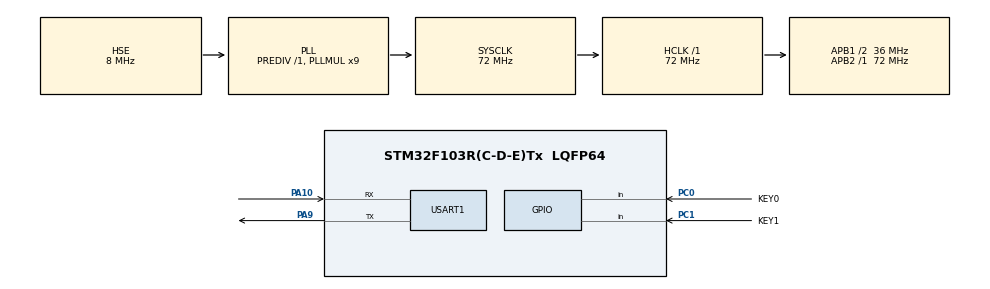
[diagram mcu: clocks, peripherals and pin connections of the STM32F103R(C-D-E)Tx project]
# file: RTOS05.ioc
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Dma.Request0=USART1_RX
Dma.USART1_RX.0.Direction=DMA_PERIPH_TO_MEMORY
Dma.USART1_RX.0.Instance=DMA1_Channel5
Dma.USART1_RX.0.MemDataAlignment=DMA_MDATAALIGN_BYTE
Dma.USART1_RX.0.MemInc=DMA_MINC_ENABLE
Dma.USART1_RX.0.Mode=DMA_NORMAL
Dma.USART1_RX.0.PeriphDataAlignment=DMA_PDATAALIGN_BYTE
Dma.USART1_RX.0.PeriphInc=DMA_PINC_DISABLE
Dma.USART1_RX.0.Priority=DMA_PRIORITY_LOW
FREERTOS.BinarySemaphores01=myBinarySem01,Dynamic,NULL
FREERTOS.CountingSemaphores01=myCountingSem01,6,Dynamic,NULL
FREERTOS.Mutexes01=myMutex01,Dynamic,NULL
FREERTOS.Tasks01=defaultTask,0,128,StartDefaultTask,Default,NULL,Dynamic,NULL,NULL;myTask01,0,128,StartTask01,Default,NULL,Dynamic,NULL,NULL
FREERTOS.Timers01=myTimer01,Callback01,osTimerPeriodic,Default,NULL,Dynamic,NULL
FREERTOS.configUSE_COUNTING_SEMAPHORES=1
FREERTOS.configUSE_TIMERS=1
Mcu.Family=STM32F1
Mcu.Name=STM32F103R(C-D-E)Tx
Mcu.Package=LQFP64
NVIC.DMA1_Channel5_IRQn=true\:5\:0\:false\:false\:true\:true\:false\:true\:true
NVIC.PriorityGroup=NVIC_PRIORITYGROUP_4
NVIC.TIM8_UP_IRQn=true\:15\:0\:false\:false\:true\:false\:false\:true\:true
NVIC.TimeBase=TIM8_UP_IRQn
NVIC.TimeBaseIP=TIM8
NVIC.USART1_IRQn=true\:5\:0\:false\:false\:true\:true\:true\:true\:true
PA10.Mode=Asynchronous
PA10.Signal=USART1_RX
PA13.Mode=Serial_Wire
PA13.Signal=SYS_JTMS-SWDIO
PA14.Mode=Serial_Wire
PA14.Signal=SYS_JTCK-SWCLK
PA9.Mode=Asynchronous
PA9.Signal=USART1_TX
PC0.GPIO_Label=KEY0
PC0.GPIO_PuPd=GPIO_PULLUP
PC0.Signal=GPIO_Input
PC1.GPIO_Label=KEY1
PC1.GPIO_PuPd=GPIO_PULLUP
PC1.Signal=GPIO_Input
PD0-OSC_IN.Mode=HSE-External-Oscillator
PD0-OSC_IN.Signal=RCC_OSC_IN
PD1-OSC_OUT.Mode=HSE-External-Oscillator
PD1-OSC_OUT.Signal=RCC_OSC_OUT
ProjectManager.HeapSize=0x200
ProjectManager.StackSize=0x400
ProjectManager.TargetToolchain=MDK-ARM V5.32
RCC.AHBFreq_Value=72000000
RCC.APB1CLKDivider=RCC_HCLK_DIV2
RCC.APB1Freq_Value=36000000
RCC.APB1TimFreq_Value=72000000
RCC.APB2Freq_Value=72000000
RCC.APB2TimFreq_Value=72000000
RCC.HCLKFreq_Value=72000000
RCC.PLLMUL=RCC_PLL_MUL9
RCC.PLLSourceVirtual=RCC_PLLSOURCE_HSE
RCC.SYSCLKFreq_VALUE=72000000
RCC.SYSCLKSource=RCC_SYSCLKSOURCE_PLLCLK
RCC.USBFreq_Value=72000000
USART1.VirtualMode=VM_ASYNC
VP_FREERTOS_VS_CMSIS_V1.Mode=CMSIS_V1
VP_SYS_VS_tim8.Mode=TIM8
board=custom

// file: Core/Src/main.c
/* USER CODE BEGIN Header */
/**
  ******************************************************************************
  * @file           : main.c
  * @brief          : Main program body
  ******************************************************************************
  * @attention
  *
  * Copyright (c) 2024 STMicroelectronics.
  * All rights reserved.
  *
  * This software is licensed under terms that can be found in the LICENSE file
  * in the root directory of this software component.
  * If no LICENSE file comes with this software, it is provided AS-IS.
  *
  ******************************************************************************
  */
/* USER CODE END Header */
#include "main.h"
#include "cmsis_os.h"
#include "dma.h"
#include "usart.h"
#include "gpio.h"

/* USER CODE BEGIN Includes */
#include "FreeRTOS.h"
/* USER CODE END Includes */

void SystemClock_Config(void);
void MX_FREERTOS_Init(void);

int main(void)
{

  /* MCU Configuration--------------------------------------------------------*/

  /* Reset of all peripherals, Initializes the Flash interface and the Systick. */
  HAL_Init();

  /* Configure the system clock */
  SystemClock_Config();

  /* Initialize all configured peripherals */
  MX_GPIO_Init();
  MX_DMA_Init();
  MX_USART1_UART_Init();
  /* USER CODE BEGIN 2 */
	HAL_UARTEx_ReceiveToIdle_DMA(&huart1,INVT_Databuff,10);
  /* USER CODE END 2 */

  /* Call init function for freertos objects (in freertos.c) */
  MX_FREERTOS_Init();

  /* Start scheduler */
  osKernelStart();

  /* We should never get here as control is now taken by the scheduler */
  /* Infinite loop */
  while (1)
  {

  }
}

void SystemClock_Config(void)
{
  RCC_OscInitTypeDef RCC_OscInitStruct = {0};
  RCC_ClkInitTypeDef RCC_ClkInitStruct = {0};

  /** Initializes the RCC Oscillators according to the specified parameters
  * in the RCC_OscInitTypeDef structure.
  */
  RCC_OscInitStruct.OscillatorType = RCC_OSCILLATORTYPE_HSE;
  RCC_OscInitStruct.HSEState = RCC_HSE_ON;
  RCC_OscInitStruct.HSEPredivValue = RCC_HSE_PREDIV_DIV1;
  RCC_OscInitStruct.HSIState = RCC_HSI_ON;
  RCC_OscInitStruct.PLL.PLLState = RCC_PLL_ON;
  RCC_OscInitStruct.PLL.PLLSource = RCC_PLLSOURCE_HSE;
  RCC_OscInitStruct.PLL.PLLMUL = RCC_PLL_MUL9;
  if (HAL_RCC_OscConfig(&RCC_OscInitStruct) != HAL_OK)
  {
    Error_Handler();
  }

  /** Initializes the CPU, AHB and APB buses clocks
  */
  RCC_ClkInitStruct.ClockType = RCC_CLOCKTYPE_HCLK|RCC_CLOCKTYPE_SYSCLK
                              |RCC_CLOCKTYPE_PCLK1|RCC_CLOCKTYPE_PCLK2;
  RCC_ClkInitStruct.SYSCLKSource = RCC_SYSCLKSOURCE_PLLCLK;
  RCC_ClkInitStruct.AHBCLKDivider = RCC_SYSCLK_DIV1;
  RCC_ClkInitStruct.APB1CLKDivider = RCC_HCLK_DIV2;
  RCC_ClkInitStruct.APB2CLKDivider = RCC_HCLK_DIV1;

  if (HAL_RCC_ClockConfig(&RCC_ClkInitStruct, FLASH_LATENCY_2) != HAL_OK)
  {
    Error_Handler();
  }
}

/* USER CODE BEGIN 4 */
void HAL_UARTEx_RxEventCallback(UART_HandleTypeDef *huart, uint16_t Size)
{
    if(huart->Instance == USART1)
    {
     osSemaphoreRelease(myBinarySem01Handle);
    }
}
/* USER CODE END 4 */

void HAL_TIM_PeriodElapsedCallback(TIM_HandleTypeDef *htim)
{
  if (htim->Instance == TIM8) {
    HAL_IncTick();
  }
}

void Error_Handler(void)
{
  __disable_irq();
  while (1)
  {
  }
}

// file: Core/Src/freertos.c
/* USER CODE BEGIN Header */
/**
  ******************************************************************************
  * File Name          : freertos.c
  * Description        : Code for freertos applications
  ******************************************************************************
  * @attention
  *
  * Copyright (c) 2024 STMicroelectronics.
  * All rights reserved.
  *
  * This software is licensed under terms that can be found in the LICENSE file
  * in the root directory of this software component.
  * If no LICENSE file comes with this software, it is provided AS-IS.
  *
  ******************************************************************************
  */
/* USER CODE END Header */

#include "FreeRTOS.h"
#include "task.h"
#include "main.h"
#include "cmsis_os.h"

/* USER CODE BEGIN Includes */
#include "usart.h"
/* USER CODE END Includes */

/* USER CODE BEGIN PD */
#define BIT_1 (1<<1)
#define BIT_2 (1<<2)
/* USER CODE END PD */

/* USER CODE BEGIN Variables */
EventGroupHandle_t myEventGroupHandle_1;//事件组句
/* USER CODE END Variables */
osThreadId defaultTaskHandle;
osThreadId myTask01Handle;
osTimerId myTimer01Handle;
osMutexId myMutex01Handle;
osSemaphoreId myBinarySem01Handle;
osSemaphoreId myCountingSem01Handle;

void StartDefaultTask(void const * argument);
void StartTask01(void const * argument);
void Callback01(void const * argument);

void MX_FREERTOS_Init(void); /* (MISRA C 2004 rule 8.1) */

/* GetIdleTaskMemory prototype (linked to static allocation support) */
void vApplicationGetIdleTaskMemory( StaticTask_t **ppxIdleTaskTCBBuffer, StackType_t **ppxIdleTaskStackBuffer, uint32_t *pulIdleTaskStackSize );

/* GetTimerTaskMemory prototype (linked to static allocation support) */
void vApplicationGetTimerTaskMemory( StaticTask_t **ppxTimerTaskTCBBuffer, StackType_t **ppxTimerTaskStackBuffer, uint32_t *pulTimerTaskStackSize );

/* USER CODE BEGIN GET_IDLE_TASK_MEMORY */
static StaticTask_t xIdleTaskTCBBuffer;
static StackType_t xIdleStack[configMINIMAL_STACK_SIZE];

void vApplicationGetIdleTaskMemory( StaticTask_t **ppxIdleTaskTCBBuffer, StackType_t **ppxIdleTaskStackBuffer, uint32_t *pulIdleTaskStackSize )
{
  *ppxIdleTaskTCBBuffer = &xIdleTaskTCBBuffer;
  *ppxIdleTaskStackBuffer = &xIdleStack[0];
  *pulIdleTaskStackSize = configMINIMAL_STACK_SIZE;
  /* place for user code */
}
/* USER CODE END GET_IDLE_TASK_MEMORY */

/* USER CODE BEGIN GET_TIMER_TASK_MEMORY */
static StaticTask_t xTimerTaskTCBBuffer;
static StackType_t xTimerStack[configTIMER_TASK_STACK_DEPTH];

void vApplicationGetTimerTaskMemory( StaticTask_t **ppxTimerTaskTCBBuffer, StackType_t **ppxTimerTaskStackBuffer, uint32_t *pulTimerTaskStackSize )
{
  *ppxTimerTaskTCBBuffer = &xTimerTaskTCBBuffer;
  *ppxTimerTaskStackBuffer = &xTimerStack[0];
  *pulTimerTaskStackSize = configTIMER_TASK_STACK_DEPTH;
  /* place for user code */
}
/* USER CODE END GET_TIMER_TASK_MEMORY */

void MX_FREERTOS_Init(void) {
  /* Create the mutex(es) */
  /* definition and creation of myMutex01 */
  osMutexDef(myMutex01);
  myMutex01Handle = osMutexCreate(osMutex(myMutex01));

  /* Create the semaphores(s) */
  /* definition and creation of myBinarySem01 */
  osSemaphoreWait(myBinarySem01Handle,0); //初始的时候就将二值信号给获得了

  /* definition and creation of myCountingSem01 */
  osSemaphoreDef(myCountingSem01);
  myCountingSem01Handle = osSemaphoreCreate(osSemaphore(myCountingSem01), 6);

  /* Create the timer(s) */
  /* definition and creation of myTimer01 */
  osTimerDef(myTimer01, Callback01);
  myTimer01Handle = osTimerCreate(osTimer(myTimer01), osTimerPeriodic, NULL);

  /* USER CODE BEGIN RTOS_TIMERS */
  /* start timers, add new ones, ... */
    osTimerStart(myTimer01Handle,1000);
  /* USER CODE END RTOS_TIMERS */

  /* Create the thread(s) */
  /* definition and creation of defaultTask */
  osThreadDef(defaultTask, StartDefaultTask, osPriorityNormal, 0, 128);
  defaultTaskHandle = osThreadCreate(osThread(defaultTask), NULL);

  /* definition and creation of myTask01 */
  osThreadDef(myTask01, StartTask01, osPriorityNormal, 0, 128);
  myTask01Handle = osThreadCreate(osThread(myTask01), NULL);

}

void StartDefaultTask(void const * argument)
{
  for(;;)
  {
    osDelay(1);
  }
}

/* USER CODE BEGIN Header_StartTask_KEY1 */
/* USER CODE END Header_StartTask_myTask01 */
void StartTask_myTask01(void const * argument)
{
  /* USER CODE BEGIN StartTask_myTask01 */
  /* Infinite loop */
  osSemaphoreId semaphore=(osSemaphoreId) argument;
  for(;;)
  {
    if(semaphore!=NULL)
    {
        if(osSemaphoreWait(semaphore,osWaitForever)==osOK)
        {
            printf("接受到数据了 \n");
            HAL_UARTEx_ReceiveToIdle_DMA(&huart1,INVT_Databuff,10);//再次打开接受中断
        }
    }
      osDelay(1);
  }
  /* USER CODE END StartTask_myTask01 */
}

/* Callback01 function */
void Callback01(void const * argument)
{
  /* USER CODE BEGIN Callback01 */
  printf("\n定时器%d\n",osKernelSysTick());
  /* USER CODE END Callback01 */
}
